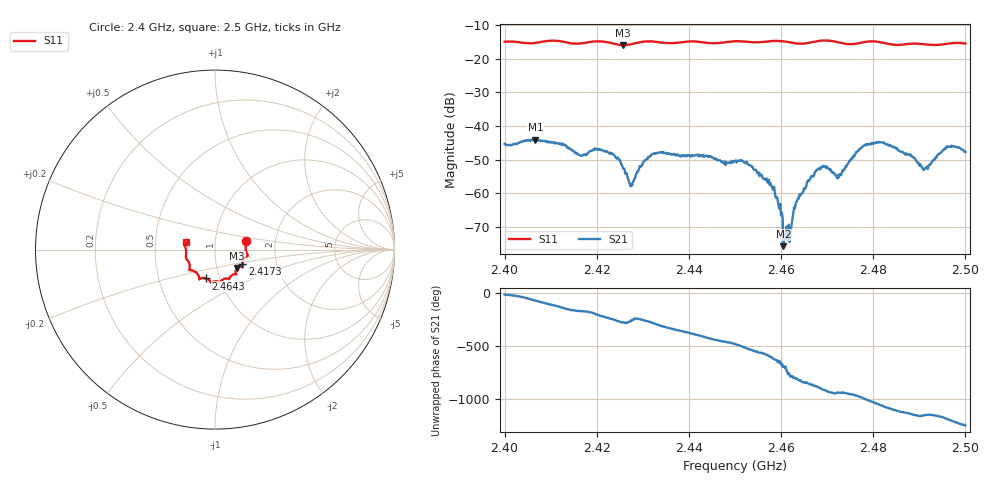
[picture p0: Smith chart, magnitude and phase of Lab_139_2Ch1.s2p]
# Hz S RI R 50
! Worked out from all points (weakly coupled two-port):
!   601 points, 2.4 GHz to 2.5 GHz, reference 50 ohm
!   highest |S21| = -44.03 dB at 2.4067 GHz (marker M1); lowest = -75.8 dB at 2.4605 GHz (marker M2)
!   lowest |S11| = -15.9 dB at 2.4257 GHz (marker M3), VSWR 1.38, Z = 62.5 - j13.1 ohm
!   |S11| at or under -10 dB: start of sweep to end of sweep
!   S12 and S22 are empty: the file has one direction only
!   S11 on the Smith chart (normalised r, x): 2.4 GHz: 1.41, +0.14; 2.4173 GHz: 1.34, -0.23; 2.4643 GHz: 0.86, -0.28; 2.5 GHz: 0.72, +0.06
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2.4e9  0.1732 0.0493  0.00511 -0.00178  0 0  0 0
2.406667e9  0.1723 -0.00648  0.00157 -0.00609  0 0  0 0
2.416667e9  0.153 -0.0747  -0.00359 -0.000162  0 0  0 0
2.417333e9  0.1521 -0.0821  -0.00375 -0.000235  0 0  0 0
2.421667e9  0.1528 -0.095  -0.0027 0.00321  0 0  0 0
2.425667e9  0.1227 -0.1024  0.000447 0.00231  0 0  0 0
2.4275e9  0.1153 -0.1189  -0.000224 0.00133  0 0  0 0
2.433333e9  0.1129 -0.1368  0.00223 0.00332  0 0  0 0
2.45e9  0.0294 -0.1808  -0.0017 -0.00251  0 0  0 0
2.458e9  -0.0183 -0.1829  -0.00044 0.00118  0 0  0 0
2.459833e9  -0.0234 -0.1831  0.000246 0.000648  0 0  0 0
2.4605e9  -0.0249 -0.1808  0.000139 8.36e-05  0 0  0 0
2.461833e9  -0.029 -0.1738  0.000119 -0.000145  0 0  0 0
2.464333e9  -0.0499 -0.1607  -0.000407 -0.000875  0 0  0 0
2.466667e9  -0.076 -0.1596  -0.00156 -0.000893  0 0  0 0
2.469333e9  -0.0877 -0.1663  -0.00237 0.000652  0 0  0 0
2.4725e9  -0.0888 -0.1516  -0.0013 0.00111  0 0  0 0
2.478e9  -0.1348 -0.1159  0.000763 0.00501  0 0  0 0
2.483333e9  -0.1409 -0.09  0.00504 -0.000686  0 0  0 0
2.491e9  -0.162 -0.0343  0.000514 -0.00216  0 0  0 0
2.496167e9  -0.1675 0.0204  -0.0019 -0.00458  0 0  0 0
2.5e9  -0.1637 0.0416  -0.00402 -0.000657  0 0  0 0
